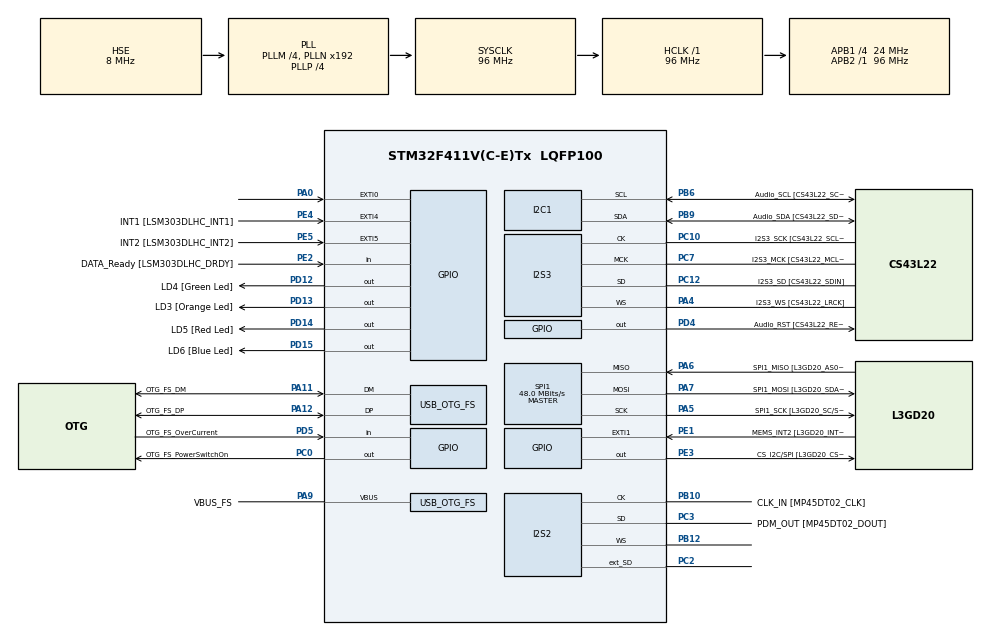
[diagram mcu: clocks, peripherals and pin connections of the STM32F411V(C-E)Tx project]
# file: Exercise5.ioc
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FREERTOS.Tasks01=GreenLEDTask,0,128,StartGreenLED,Default,NULL,Dynamic,NULL,NULL;RedLEDTask,1,128,StartRedLED,Default,NULL,Dynamic,NULL,NULL
I2S2.AudioFreq=I2S_AUDIOFREQ_96K
I2S2.ErrorAudioFreq=0.15 %
I2S2.FullDuplexMode=I2S_FULLDUPLEXMODE_ENABLE
I2S2.Instance=SPI$Index
I2S2.RealAudioFreq=96.153 KHz
I2S2.VirtualMode=I2S_MODE_MASTER
I2S3.AudioFreq=I2S_AUDIOFREQ_96K
I2S3.ErrorAudioFreq=-6.99 %
I2S3.FullDuplexMode=I2S_FULLDUPLEXMODE_DISABLE
I2S3.Instance=SPI$Index
I2S3.RealAudioFreq=89.285 KHz
I2S3.VirtualMode=I2S_MODE_MASTER
Mcu.Family=STM32F4
Mcu.Name=STM32F411V(C-E)Tx
Mcu.Package=LQFP100
NVIC.OTG_FS_IRQn=true\:5\:0\:false\:false\:true\:true\:true\:true
NVIC.PriorityGroup=NVIC_PRIORITYGROUP_4
NVIC.TIM1_UP_TIM10_IRQn=true\:0\:0\:false\:false\:true\:false\:false\:true
NVIC.TimeBase=TIM1_UP_TIM10_IRQn
NVIC.TimeBaseIP=TIM1
PA0-WKUP.GPIO_ModeDefaultEXTI=GPIO_MODE_EVT_RISING
PA0-WKUP.Signal=GPXTI0
PA10.GPIO_Label=OTG_FS_ID
PA10.Signal=USB_OTG_FS_ID
PA11.GPIO_Label=OTG_FS_DM
PA11.Mode=Host_Only
PA11.Signal=USB_OTG_FS_DM
PA12.GPIO_Label=OTG_FS_DP
PA12.Mode=Host_Only
PA12.Signal=USB_OTG_FS_DP
PA13.GPIO_Label=SWDIO
PA13.Mode=Serial_Wire
PA13.Signal=SYS_JTMS-SWDIO
PA14.GPIO_Label=SWCLK
PA14.Mode=Serial_Wire
PA14.Signal=SYS_JTCK-SWCLK
PA4.GPIO_Label=I2S3_WS [CS43L22_LRCK]
PA4.GPIO_Mode=GPIO_MODE_AF_PP
PA4.GPIO_PuPd=GPIO_NOPULL
PA4.GPIO_Speed=GPIO_SPEED_FREQ_LOW
PA4.Mode=Half_Duplex_Master
PA4.Signal=I2S3_WS
PA5.GPIO_Label=SPI1_SCK [L3GD20_SC/SPC]
PA5.Mode=Full_Duplex_Master
PA5.Signal=SPI1_SCK
PA6.GPIO_Label=SPI1_MISO [L3GD20_AS0/SDO]
PA6.Mode=Full_Duplex_Master
PA6.Signal=SPI1_MISO
PA7.GPIO_Label=SPI1_MOSI [L3GD20_SDA/SDI/SDO]
PA7.Mode=Full_Duplex_Master
PA7.Signal=SPI1_MOSI
PA9.GPIO_Label=VBUS_FS
PA9.Mode=Activate_VBUS
PA9.Signal=USB_OTG_FS_VBUS
PB10.GPIO_Label=CLK_IN [MP45DT02_CLK]
PB10.Mode=Full_Duplex_Master
PB10.Signal=I2S2_CK
PB12.Mode=Full_Duplex_Master
PB12.Signal=I2S2_WS
PB3.GPIO_Label=SWO
PB3.Signal=SYS_JTDO-SWO
PB6.GPIO_Label=Audio_SCL [CS43L22_SCL]
PB6.GPIO_Mode=GPIO_MODE_AF_OD
PB6.GPIO_PuPd=GPIO_NOPULL
PB6.GPIO_Speed=GPIO_SPEED_FREQ_LOW
PB6.Mode=I2C
PB6.Signal=I2C1_SCL
PB9.GPIO_Label=Audio_SDA [CS43L22_SDA]
PB9.GPIO_Mode=GPIO_MODE_AF_OD
PB9.GPIO_PuPd=GPIO_NOPULL
PB9.GPIO_Speed=GPIO_SPEED_FREQ_LOW
PB9.Mode=I2C
PB9.Signal=I2C1_SDA
PC0.GPIO_Label=OTG_FS_PowerSwitchOn
PC0.PinState=GPIO_PIN_SET
PC0.Signal=GPIO_Output
PC10.GPIO_Label=I2S3_SCK [CS43L22_SCLK]
PC10.GPIO_Mode=GPIO_MODE_AF_PP
PC10.GPIO_PuPd=GPIO_NOPULL
PC10.GPIO_Speed=GPIO_SPEED_FREQ_LOW
PC10.Mode=Half_Duplex_Master
PC10.Signal=I2S3_CK
PC12.GPIO_Label=I2S3_SD [CS43L22_SDIN]
PC12.GPIO_Mode=GPIO_MODE_AF_PP
PC12.GPIO_PuPd=GPIO_NOPULL
PC12.GPIO_Speed=GPIO_SPEED_FREQ_LOW
PC12.Mode=Half_Duplex_Master
PC12.Signal=I2S3_SD
PC14-OSC32_IN.GPIO_Label=PC14-OSC32_IN
PC14-OSC32_IN.Mode=LSE-External-Oscillator
PC14-OSC32_IN.Signal=RCC_OSC32_IN
PC15-OSC32_OUT.GPIO_Label=PC15-OSC32_OUT
PC15-OSC32_OUT.Mode=LSE-External-Oscillator
PC15-OSC32_OUT.Signal=RCC_OSC32_OUT
PC2.Mode=Full_Duplex_Master
PC2.Signal=I2S2_ext_SD
PC3.GPIO_Label=PDM_OUT [MP45DT02_DOUT]
PC3.Mode=Full_Duplex_Master
PC3.Signal=I2S2_SD
PC7.GPIO_Label=I2S3_MCK [CS43L22_MCLK]
PC7.GPIO_Mode=GPIO_MODE_AF_PP
PC7.GPIO_PuPd=GPIO_NOPULL
PC7.GPIO_Speed=GPIO_SPEED_FREQ_LOW
PC7.Mode=Master_Clock_Activated
PC7.Signal=I2S3_MCK
PD12.GPIO_Label=LD4 [Green Led]
PD12.GPIO_PuPd=GPIO_NOPULL
PD12.GPIO_Speed=GPIO_SPEED_FREQ_LOW
PD12.Signal=GPIO_Output
PD13.GPIO_Label=LD3 [Orange Led]
PD13.GPIO_PuPd=GPIO_NOPULL
PD13.GPIO_Speed=GPIO_SPEED_FREQ_LOW
PD13.Signal=GPIO_Output
PD14.GPIO_Label=LD5 [Red Led]
PD14.GPIO_PuPd=GPIO_NOPULL
PD14.GPIO_Speed=GPIO_SPEED_FREQ_LOW
PD14.Signal=GPIO_Output
PD15.GPIO_Label=LD6 [Blue Led]
PD15.GPIO_PuPd=GPIO_NOPULL
PD15.GPIO_Speed=GPIO_SPEED_FREQ_LOW
PD15.Signal=GPIO_Output
PD4.GPIO_Label=Audio_RST [CS43L22_RESET]
PD4.Signal=GPIO_Output
PD5.GPIO_Label=OTG_FS_OverCurrent
PD5.Signal=GPIO_Input
PE1.GPIO_Label=MEMS_INT2 [L3GD20_INT2]
PE1.GPIO_ModeDefaultEXTI=GPIO_MODE_EVT_RISING
PE1.Signal=GPXTI1
PE2.GPIO_Label=DATA_Ready [LSM303DLHC_DRDY]
PE2.Signal=GPIO_Input
PE3.GPIO_Label=CS_I2C/SPI [L3GD20_CS_I2C/SPI]
PE3.Signal=GPIO_Output
PE4.GPIO_Label=INT1 [LSM303DLHC_INT1]
PE4.GPIO_ModeDefaultEXTI=GPIO_MODE_EVT_RISING
PE4.Signal=GPXTI4
PE5.GPIO_Label=INT2 [LSM303DLHC_INT2]
PE5.GPIO_ModeDefaultEXTI=GPIO_MODE_EVT_RISING
PE5.Signal=GPXTI5
PH0\ -\ OSC_IN.GPIO_Label=PH0-OSC_IN
PH0\ -\ OSC_IN.Mode=HSE-External-Oscillator
PH0\ -\ OSC_IN.Signal=RCC_OSC_IN
PH1\ -\ OSC_OUT.GPIO_Label=PH1-OSC_OUT
PH1\ -\ OSC_OUT.Mode=HSE-External-Oscillator
PH1\ -\ OSC_OUT.Signal=RCC_OSC_OUT
ProjectManager.HeapSize=0x200
ProjectManager.StackSize=0x400
ProjectManager.TargetToolchain=STM32CubeIDE
RCC.48MHZClocksFreq_Value=48000000
RCC.AHBFreq_Value=96000000
RCC.APB1CLKDivider=RCC_HCLK_DIV4
RCC.APB1Freq_Value=24000000
RCC.APB1TimFreq_Value=48000000
RCC.APB2Freq_Value=96000000
RCC.APB2TimFreq_Value=96000000
RCC.CortexFreq_Value=96000000
RCC.HCLKFreq_Value=96000000
RCC.HSE_VALUE=8000000
RCC.HSI_VALUE=16000000
RCC.PLLI2SM=5
RCC.PLLI2SN=200
RCC.PLLM=4
RCC.PLLP=RCC_PLLP_DIV4
RCC.PLLQ=8
RCC.SYSCLKFreq_VALUE=96000000
RCC.SYSCLKSource=RCC_SYSCLKSOURCE_PLLCLK
RCC.VCOOutputFreq_Value=384000000
SPI1.BaudRatePrescaler=SPI_BAUDRATEPRESCALER_2
SPI1.CalculateBaudRate=48.0 MBits/s
SPI1.Direction=SPI_DIRECTION_2LINES
SPI1.Mode=SPI_MODE_MASTER
SPI1.VirtualType=VM_MASTER
USB_OTG_FS.VirtualMode=Host_Only
USB_OTG_FS.phy_itface=HCD_PHY_EMBEDDED
VP_FREERTOS_VS_CMSIS_V1.Mode=CMSIS_V1
VP_SYS_VS_tim1.Mode=TIM1
board=STM32F411E-DISCO

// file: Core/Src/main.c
/* USER CODE BEGIN Header */
/**
  ******************************************************************************
  * @file           : main.c
  * @brief          : Main program body
  ******************************************************************************
  * @attention
  *
  * <h2><center>&copy; Copyright (c) 2024 STMicroelectronics.
  * All rights reserved.</center></h2>
  *
  * This software component is licensed by ST under Ultimate Liberty license
  * SLA0044, the "License"; You may not use this file except in compliance with
  * the License. You may obtain a copy of the License at:
  *                             www.st.com/SLA0044
  *
  ******************************************************************************
  */
/* USER CODE END Header */

#include "main.h"
#include "cmsis_os.h"

I2C_HandleTypeDef hi2c1;

I2S_HandleTypeDef hi2s2;
I2S_HandleTypeDef hi2s3;

SPI_HandleTypeDef hspi1;

HCD_HandleTypeDef hhcd_USB_OTG_FS;

osThreadId GreenLEDTaskHandle;
osThreadId RedLEDTaskHandle;

void SystemClock_Config(void);
static void MX_GPIO_Init(void);
static void MX_I2C1_Init(void);
static void MX_I2S2_Init(void);
static void MX_I2S3_Init(void);
static void MX_SPI1_Init(void);
static void MX_USB_OTG_FS_HCD_Init(void);
void StartGreenLED(void const * argument);
void StartRedLED(void const * argument);

int main(void)
{

  /* MCU Configuration--------------------------------------------------------*/

  /* Reset of all peripherals, Initializes the Flash interface and the Systick. */
  HAL_Init();

  /* Configure the system clock */
  SystemClock_Config();

  /* Initialize all configured peripherals */
  MX_GPIO_Init();
  MX_I2C1_Init();
  MX_I2S2_Init();
  MX_I2S3_Init();
  MX_SPI1_Init();
  MX_USB_OTG_FS_HCD_Init();

  /* Create the thread(s) */
  /* definition and creation of GreenLEDTask */
  osThreadDef(GreenLEDTask, StartGreenLED, osPriorityNormal, 0, 128);
  GreenLEDTaskHandle = osThreadCreate(osThread(GreenLEDTask), NULL);

  /* definition and creation of RedLEDTask */
  osThreadDef(RedLEDTask, StartRedLED, osPriorityAboveNormal, 0, 128);
  RedLEDTaskHandle = osThreadCreate(osThread(RedLEDTask), NULL);

  /* Start scheduler */
  osKernelStart();

  /* We should never get here as control is now taken by the scheduler */

  /* Infinite loop */
  while (1)
  {

  }
}

void SystemClock_Config(void)
{
  RCC_OscInitTypeDef RCC_OscInitStruct = {0};
  RCC_ClkInitTypeDef RCC_ClkInitStruct = {0};
  RCC_PeriphCLKInitTypeDef PeriphClkInitStruct = {0};

  /** Configure the main internal regulator output voltage
  */
  __HAL_RCC_PWR_CLK_ENABLE();
  __HAL_PWR_VOLTAGESCALING_CONFIG(PWR_REGULATOR_VOLTAGE_SCALE1);
  /** Initializes the CPU, AHB and APB busses clocks
  */
  RCC_OscInitStruct.OscillatorType = RCC_OSCILLATORTYPE_HSE;
  RCC_OscInitStruct.HSEState = RCC_HSE_ON;
  RCC_OscInitStruct.PLL.PLLState = RCC_PLL_ON;
  RCC_OscInitStruct.PLL.PLLSource = RCC_PLLSOURCE_HSE;
  RCC_OscInitStruct.PLL.PLLM = 4;
  RCC_OscInitStruct.PLL.PLLN = 192;
  RCC_OscInitStruct.PLL.PLLP = RCC_PLLP_DIV4;
  RCC_OscInitStruct.PLL.PLLQ = 8;
  if (HAL_RCC_OscConfig(&RCC_OscInitStruct) != HAL_OK)
  {
    Error_Handler();
  }
  /** Initializes the CPU, AHB and APB busses clocks
  */
  RCC_ClkInitStruct.ClockType = RCC_CLOCKTYPE_HCLK|RCC_CLOCKTYPE_SYSCLK
                              |RCC_CLOCKTYPE_PCLK1|RCC_CLOCKTYPE_PCLK2;
  RCC_ClkInitStruct.SYSCLKSource = RCC_SYSCLKSOURCE_PLLCLK;
  RCC_ClkInitStruct.AHBCLKDivider = RCC_SYSCLK_DIV1;
  RCC_ClkInitStruct.APB1CLKDivider = RCC_HCLK_DIV4;
  RCC_ClkInitStruct.APB2CLKDivider = RCC_HCLK_DIV1;

  if (HAL_RCC_ClockConfig(&RCC_ClkInitStruct, FLASH_LATENCY_3) != HAL_OK)
  {
    Error_Handler();
  }
  PeriphClkInitStruct.PeriphClockSelection = RCC_PERIPHCLK_I2S;
  PeriphClkInitStruct.PLLI2S.PLLI2SN = 200;
  PeriphClkInitStruct.PLLI2S.PLLI2SM = 5;
  PeriphClkInitStruct.PLLI2S.PLLI2SR = 2;
  if (HAL_RCCEx_PeriphCLKConfig(&PeriphClkInitStruct) != HAL_OK)
  {
    Error_Handler();
  }
}

static void MX_I2C1_Init(void)
{

  hi2c1.Instance = I2C1;
  hi2c1.Init.ClockSpeed = 100000;
  hi2c1.Init.DutyCycle = I2C_DUTYCYCLE_2;
  hi2c1.Init.OwnAddress1 = 0;
  hi2c1.Init.AddressingMode = I2C_ADDRESSINGMODE_7BIT;
  hi2c1.Init.DualAddressMode = I2C_DUALADDRESS_DISABLE;
  hi2c1.Init.OwnAddress2 = 0;
  hi2c1.Init.GeneralCallMode = I2C_GENERALCALL_DISABLE;
  hi2c1.Init.NoStretchMode = I2C_NOSTRETCH_DISABLE;
  if (HAL_I2C_Init(&hi2c1) != HAL_OK)
  {
    Error_Handler();
  }

}

static void MX_I2S2_Init(void)
{

  hi2s2.Instance = SPI2;
  hi2s2.Init.Mode = I2S_MODE_MASTER_TX;
  hi2s2.Init.Standard = I2S_STANDARD_PHILIPS;
  hi2s2.Init.DataFormat = I2S_DATAFORMAT_16B;
  hi2s2.Init.MCLKOutput = I2S_MCLKOUTPUT_DISABLE;
  hi2s2.Init.AudioFreq = I2S_AUDIOFREQ_96K;
  hi2s2.Init.CPOL = I2S_CPOL_LOW;
  hi2s2.Init.ClockSource = I2S_CLOCK_PLL;
  hi2s2.Init.FullDuplexMode = I2S_FULLDUPLEXMODE_ENABLE;
  if (HAL_I2S_Init(&hi2s2) != HAL_OK)
  {
    Error_Handler();
  }

}

static void MX_I2S3_Init(void)
{

  hi2s3.Instance = SPI3;
  hi2s3.Init.Mode = I2S_MODE_MASTER_TX;
  hi2s3.Init.Standard = I2S_STANDARD_PHILIPS;
  hi2s3.Init.DataFormat = I2S_DATAFORMAT_16B;
  hi2s3.Init.MCLKOutput = I2S_MCLKOUTPUT_ENABLE;
  hi2s3.Init.AudioFreq = I2S_AUDIOFREQ_96K;
  hi2s3.Init.CPOL = I2S_CPOL_LOW;
  hi2s3.Init.ClockSource = I2S_CLOCK_PLL;
  hi2s3.Init.FullDuplexMode = I2S_FULLDUPLEXMODE_DISABLE;
  if (HAL_I2S_Init(&hi2s3) != HAL_OK)
  {
    Error_Handler();
  }

}

static void MX_SPI1_Init(void)
{

  /* SPI1 parameter configuration*/
  hspi1.Instance = SPI1;
  hspi1.Init.Mode = SPI_MODE_MASTER;
  hspi1.Init.Direction = SPI_DIRECTION_2LINES;
  hspi1.Init.DataSize = SPI_DATASIZE_8BIT;
  hspi1.Init.CLKPolarity = SPI_POLARITY_LOW;
  hspi1.Init.CLKPhase = SPI_PHASE_1EDGE;
  hspi1.Init.NSS = SPI_NSS_SOFT;
  hspi1.Init.BaudRatePrescaler = SPI_BAUDRATEPRESCALER_2;
  hspi1.Init.FirstBit = SPI_FIRSTBIT_MSB;
  hspi1.Init.TIMode = SPI_TIMODE_DISABLE;
  hspi1.Init.CRCCalculation = SPI_CRCCALCULATION_DISABLE;
  hspi1.Init.CRCPolynomial = 10;
  if (HAL_SPI_Init(&hspi1) != HAL_OK)
  {
    Error_Handler();
  }

}

static void MX_USB_OTG_FS_HCD_Init(void)
{

  hhcd_USB_OTG_FS.Instance = USB_OTG_FS;
  hhcd_USB_OTG_FS.Init.Host_channels = 8;
  hhcd_USB_OTG_FS.Init.speed = HCD_SPEED_FULL;
  hhcd_USB_OTG_FS.Init.dma_enable = DISABLE;
  hhcd_USB_OTG_FS.Init.phy_itface = HCD_PHY_EMBEDDED;
  hhcd_USB_OTG_FS.Init.Sof_enable = DISABLE;
  if (HAL_HCD_Init(&hhcd_USB_OTG_FS) != HAL_OK)
  {
    Error_Handler();
  }

}

static void MX_GPIO_Init(void)
{
  GPIO_InitTypeDef GPIO_InitStruct = {0};

  /* GPIO Ports Clock Enable */
  __HAL_RCC_GPIOE_CLK_ENABLE();
  __HAL_RCC_GPIOC_CLK_ENABLE();
  __HAL_RCC_GPIOH_CLK_ENABLE();
  __HAL_RCC_GPIOA_CLK_ENABLE();
  __HAL_RCC_GPIOB_CLK_ENABLE();
  __HAL_RCC_GPIOD_CLK_ENABLE();

  /*Configure GPIO pin Output Level */
  HAL_GPIO_WritePin(CS_I2C_SPI_GPIO_Port, CS_I2C_SPI_Pin, GPIO_PIN_RESET);

  /*Configure GPIO pin Output Level */
  HAL_GPIO_WritePin(OTG_FS_PowerSwitchOn_GPIO_Port, OTG_FS_PowerSwitchOn_Pin, GPIO_PIN_SET);

  /*Configure GPIO pin Output Level */
  HAL_GPIO_WritePin(GPIOD, LD4_Pin|LD3_Pin|LD5_Pin|LD6_Pin
                          |Audio_RST_Pin, GPIO_PIN_RESET);

  /*Configure GPIO pin : DATA_Ready_Pin */
  GPIO_InitStruct.Pin = DATA_Ready_Pin;
  GPIO_InitStruct.Mode = GPIO_MODE_INPUT;
  GPIO_InitStruct.Pull = GPIO_NOPULL;
  HAL_GPIO_Init(DATA_Ready_GPIO_Port, &GPIO_InitStruct);

  /*Configure GPIO pin : CS_I2C_SPI_Pin */
  GPIO_InitStruct.Pin = CS_I2C_SPI_Pin;
  GPIO_InitStruct.Mode = GPIO_MODE_OUTPUT_PP;
  GPIO_InitStruct.Pull = GPIO_NOPULL;
  GPIO_InitStruct.Speed = GPIO_SPEED_FREQ_LOW;
  HAL_GPIO_Init(CS_I2C_SPI_GPIO_Port, &GPIO_InitStruct);

  /*Configure GPIO pins : INT1_Pin INT2_Pin MEMS_INT2_Pin */
  GPIO_InitStruct.Pin = INT1_Pin|INT2_Pin|MEMS_INT2_Pin;
  GPIO_InitStruct.Mode = GPIO_MODE_EVT_RISING;
  GPIO_InitStruct.Pull = GPIO_NOPULL;
  HAL_GPIO_Init(GPIOE, &GPIO_InitStruct);

  /*Configure GPIO pin : OTG_FS_PowerSwitchOn_Pin */
  GPIO_InitStruct.Pin = OTG_FS_PowerSwitchOn_Pin;
  GPIO_InitStruct.Mode = GPIO_MODE_OUTPUT_PP;
  GPIO_InitStruct.Pull = GPIO_NOPULL;
  GPIO_InitStruct.Speed = GPIO_SPEED_FREQ_LOW;
  HAL_GPIO_Init(OTG_FS_PowerSwitchOn_GPIO_Port, &GPIO_InitStruct);

  /*Configure GPIO pin : PA0 */
  GPIO_InitStruct.Pin = GPIO_PIN_0;
  GPIO_InitStruct.Mode = GPIO_MODE_EVT_RISING;
  GPIO_InitStruct.Pull = GPIO_NOPULL;
  HAL_GPIO_Init(GPIOA, &GPIO_InitStruct);

  /*Configure GPIO pins : LD4_Pin LD3_Pin LD5_Pin LD6_Pin
                           Audio_RST_Pin */
  GPIO_InitStruct.Pin = LD4_Pin|LD3_Pin|LD5_Pin|LD6_Pin
                          |Audio_RST_Pin;
  GPIO_InitStruct.Mode = GPIO_MODE_OUTPUT_PP;
  GPIO_InitStruct.Pull = GPIO_NOPULL;
  GPIO_InitStruct.Speed = GPIO_SPEED_FREQ_LOW;
  HAL_GPIO_Init(GPIOD, &GPIO_InitStruct);

  /*Configure GPIO pin : OTG_FS_OverCurrent_Pin */
  GPIO_InitStruct.Pin = OTG_FS_OverCurrent_Pin;
  GPIO_InitStruct.Mode = GPIO_MODE_INPUT;
  GPIO_InitStruct.Pull = GPIO_NOPULL;
  HAL_GPIO_Init(OTG_FS_OverCurrent_GPIO_Port, &GPIO_InitStruct);

}

/* USER CODE BEGIN 4 */
int Start_Flag = 1;
void Access_Function()
{
	if (Start_Flag == 1)
	{
		Start_Flag = 0;
	}
	else
	{
		HAL_GPIO_TogglePin(GPIOD, GPIO_PIN_15);//Toggle Blue LED @ every resource contention
	}
	for(int i = 0; i < 2000000; ++i); // ~ 0.5 second delay
	Start_Flag = 1;
	return;
}
/* USER CODE END 4 */

void StartGreenLED(void const * argument)
{
  /* USER CODE BEGIN 5 */
  /* Infinite loop */
  for(;;)
  {
	HAL_GPIO_WritePin(GPIOD, GPIO_PIN_12, GPIO_PIN_SET); // turn on green LED
    Access_Function(); //
	HAL_GPIO_WritePin(GPIOD, GPIO_PIN_12, GPIO_PIN_RESET); //turn off green LED
    osDelay(500);// 500mS Delay
  }
  /* USER CODE END 5 */
}

void StartRedLED(void const * argument)
{
  /* USER CODE BEGIN StartRedLED */
  /* Infinite loop */
  for(;;)
  {
	HAL_GPIO_WritePin(GPIOD,GPIO_PIN_14,GPIO_PIN_SET); //Turn On Red LED
	Access_Function();
	HAL_GPIO_WritePin(GPIOD,GPIO_PIN_14,GPIO_PIN_RESET); //Turn Off Red LED
    osDelay(100);// ~ 0.1 second Delay
  }
  /* USER CODE END StartRedLED */
}

void HAL_TIM_PeriodElapsedCallback(TIM_HandleTypeDef *htim)
{
  if (htim->Instance == TIM1) {
    HAL_IncTick();
  }
}

void Error_Handler(void)
{
}

/************************ (C) COPYRIGHT STMicroelectronics *****END OF FILE****/
